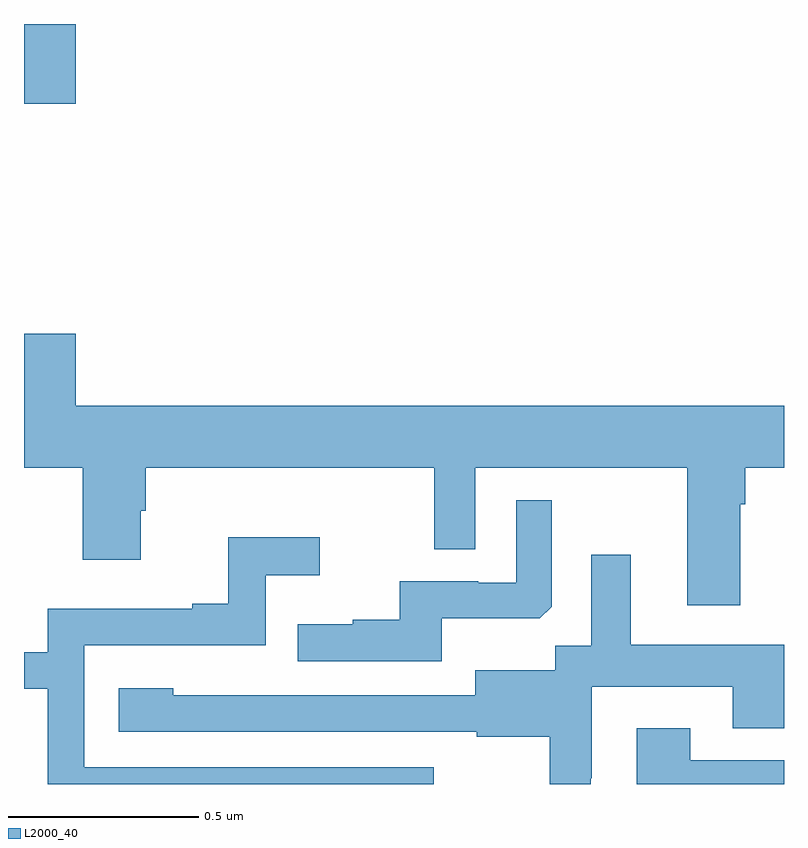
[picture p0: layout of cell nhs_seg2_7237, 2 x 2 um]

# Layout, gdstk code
import gdstk
lib = gdstk.Library(unit=1e-6, precision=1e-09)
def R(c, l, rs):  # rectangles x0, y0, x1, y1
    for r in rs: c.add(gdstk.rectangle(r[:2], r[2:], *l))
def P(c, l, *ps):  # polygons
    for p in ps: c.add(gdstk.Polygon(p, *l))
L2000_40 = (2000, 40)

nhs_seg2_7237 = lib.new_cell('nhs_seg2_7237')
R(nhs_seg2_7237, L2000_40, [(201,652.59,201.136,652.8)])
P(nhs_seg2_7237, L2000_40, [(202.885,651.536),(202.898,651.536),(202.898,651.632),(203,651.632),(203,651.796),(201.136,651.796),(201.136,651.985),(201,651.985),(201,651.632),(201.155,651.632),(201.155,651.39),(201.307,651.39),(201.307,651.519),(201.32,651.519),(201.32,651.632),(202.08,651.632),(202.08,651.418),(202.188,651.418),(202.188,651.632),(202.745,651.632),(202.745,651.27),(202.885,651.27)],
  [(202.099,651.236),(202.357,651.236),(202.389,651.267),(202.389,651.547),(202.296,651.547),(202.296,651.33),(202.196,651.33),(202.196,651.333),(201.989,651.333),(201.989,651.232),(201.865,651.232),(201.865,651.22),(201.721,651.22),(201.721,651.123),(202.099,651.123)],
  [(202.078,650.844),(201.159,650.844),(201.159,651.165),(201.636,651.165),(201.636,651.35),(201.778,651.35),(201.778,651.449),(201.538,651.449),(201.538,651.274),(201.443,651.274),(201.443,651.261),(201.063,651.261),(201.063,651.147),(201,651.147),(201,651.051),(201.063,651.051),(201.063,650.8),(202.078,650.8)],
  [(202.492,650.815),(202.494,650.815),(202.494,651.056),(202.865,651.056),(202.865,650.947),(203,650.947),(203,651.166),(202.597,651.166),(202.597,651.403),(202.493,651.403),(202.493,651.164),(202.398,651.164),(202.398,651.1),(202.187,651.1),(202.187,651.033),(201.629,651.033),(201.629,651.034),(201.393,651.034),(201.393,651.052),(201.249,651.052),(201.249,650.937),(202.191,650.937),(202.191,650.925),(202.383,650.925),(202.383,650.8),(202.492,650.8)],
  [(203,650.862),(202.753,650.862),(202.753,650.947),(202.613,650.947),(202.613,650.8),(203,650.8)])

lib.write_gds('nhs_seg2_7237.gds')
